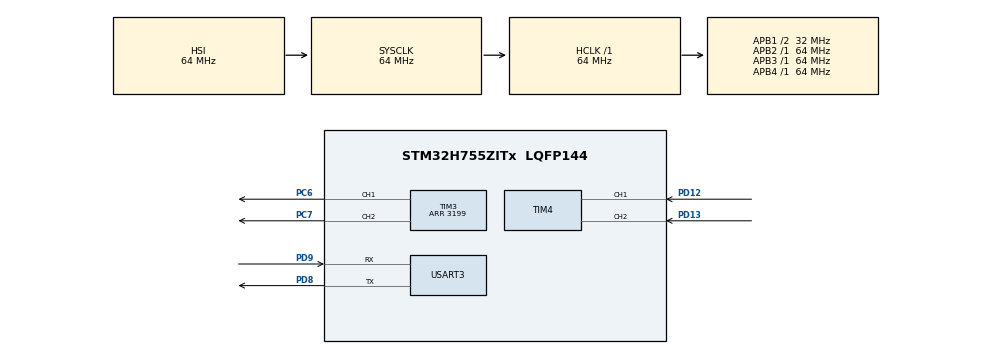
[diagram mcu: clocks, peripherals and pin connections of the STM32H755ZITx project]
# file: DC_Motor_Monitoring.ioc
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CORTEX_M7.default_mode_Activation=1
CortexM4.IPs=CORTEX_M4\:I,FATFS_M4\:I,FREERTOS_M4\:I,IWDG2\:I,OPENAMP_M4\:I,PDM2PCM_M4\:I,PWR,RCC,RESMGR_UTILITY,SYS_M4\:I,USB_DEVICE_M4\:I,USB_HOST_M4\:I,VREFBUF,WWDG2\:I,GPIO,DMA,BDMA,MDMA,NVIC2\:I
CortexM7.IPs=CORTEX_M7\:I,FATFS_M7\:I,FREERTOS_M7\:I,IWDG1\:I,OPENAMP_M7\:I,PDM2PCM_M7\:I,PWR\:I,RCC\:I,RESMGR_UTILITY\:I,SYS\:I,USB_DEVICE_M7\:I,USB_HOST_M7\:I,VREFBUF\:I,WWDG1\:I,GPIO\:I,DMA\:I,BDMA\:I,MDMA\:I,NVIC1\:I,DEBUG\:I,TIM3\:I,TIM4\:I,USART3\:I
Mcu.Family=STM32H7
Mcu.Name=STM32H755ZITx
Mcu.Package=LQFP144
NVIC1.PriorityGroup=NVIC_PRIORITYGROUP_4
NVIC2.PriorityGroup=NVIC_PRIORITYGROUP_4
PA13\ (JTMS/SWDIO).Mode=Serial_Wire
PA13\ (JTMS/SWDIO).PinAttribute=CortexM7
PA13\ (JTMS/SWDIO).Signal=DEBUG_JTMS-SWDIO
PA14\ (JTCK/SWCLK).Mode=Serial_Wire
PA14\ (JTCK/SWCLK).PinAttribute=CortexM7
PA14\ (JTCK/SWCLK).Signal=DEBUG_JTCK-SWCLK
PC6.PinAttribute=CortexM7
PC6.Signal=S_TIM3_CH1
PC7.PinAttribute=CortexM7
PC7.Signal=S_TIM3_CH2
PD12.GPIO_PuPd=GPIO_PULLUP
PD12.PinAttribute=CortexM7
PD12.Signal=S_TIM4_CH1
PD13.GPIO_PuPd=GPIO_PULLUP
PD13.PinAttribute=CortexM7
PD13.Signal=S_TIM4_CH2
PD8.GPIO_PuPd=GPIO_NOPULL
PD8.Mode=Asynchronous
PD8.PinAttribute=CortexM7
PD8.Signal=USART3_TX
PD9.Mode=Asynchronous
PD9.PinAttribute=CortexM7
PD9.Signal=USART3_RX
ProjectManager.HeapSize=M4-0x200,M7-0x200
ProjectManager.StackSize=M4-0x400,M7-0x400
ProjectManager.TargetToolchain=MDK-ARM V5.32
RCC.ADCFreq_Value=129000000
RCC.APB1Freq_Value=32000000
RCC.APB2Freq_Value=64000000
RCC.APB3Freq_Value=64000000
RCC.APB4Freq_Value=64000000
RCC.CortexFreq_Value=64000000
RCC.D2PPRE1=RCC_APB1_DIV2
RCC.HCLKFreq_Value=64000000
RCC.SYSCLKFreq_VALUE=64000000
RCC.USBFreq_Value=129000000
SH.S_TIM3_CH1.0=TIM3_CH1,PWM Generation1 CH1
SH.S_TIM3_CH2.0=TIM3_CH2,PWM Generation2 CH2
SH.S_TIM4_CH1.0=TIM4_CH1,Encoder_Interface
SH.S_TIM4_CH2.0=TIM4_CH2,Encoder_Interface
SYS.userName=SYS_M7
TIM3.AutoReloadPreload=TIM_AUTORELOAD_PRELOAD_ENABLE
TIM3.Channel-PWM\ Generation1\ CH1=TIM_CHANNEL_1
TIM3.Channel-PWM\ Generation2\ CH2=TIM_CHANNEL_2
TIM3.Period=3199
TIM4.EncoderMode=TIM_ENCODERMODE_TI12
TIM4.IC1Filter=6
USART3.VirtualMode-Asynchronous=VM_ASYNC
VP_SYS_M4_VS_Systick.Mode=SysTick
VP_TIM3_VS_ClockSourceINT.Mode=Internal
board=custom

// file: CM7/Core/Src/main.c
/* USER CODE BEGIN Header */
/**
  ******************************************************************************
  * @file           : main.c
  * @brief          : Main program body
  ******************************************************************************
  * @attention
  *
  * Copyright (c) 2026 STMicroelectronics.
  * All rights reserved.
  *
  * This software is licensed under terms that can be found in the LICENSE file
  * in the root directory of this software component.
  * If no LICENSE file comes with this software, it is provided AS-IS.
  *
  ******************************************************************************
  */
/* USER CODE END Header */
#include "main.h"

/* USER CODE BEGIN Includes */
#include "DRV8871.h"
#include "GA25_370.h"
#include <stdio.h>
/* USER CODE END Includes */

/* USER CODE BEGIN PD */

/* DUAL_CORE_BOOT_SYNC_SEQUENCE: Define for dual core boot synchronization    */
/*                             demonstration code based on hardware semaphore */
/* This define is present in both CM7/CM4 projects                            */
/* To comment when developping/debugging on a single core                     */
#define DUAL_CORE_BOOT_SYNC_SEQUENCE

#if defined(DUAL_CORE_BOOT_SYNC_SEQUENCE)
#ifndef HSEM_ID_0
#define HSEM_ID_0 (0U) /* HW semaphore 0*/
#endif
#endif /* DUAL_CORE_BOOT_SYNC_SEQUENCE */
#define MOTOR_OPEN_LOOP_TEST  1
/* USER CODE END PD */

TIM_HandleTypeDef htim3;
TIM_HandleTypeDef htim4;

UART_HandleTypeDef huart3;

/* USER CODE BEGIN PV */
DRV8871_Handle hDRV8871 = {0};
GA25_370_Handle hGA25 = {0};

volatile DRV8871_Status drv_status;
volatile GA25_370_Status encoder_status;

/* Cac bien theo doi trong Keil Watch */
volatile uint8_t test_ready   = 0;
volatile uint8_t test_request = 0;
volatile uint8_t test_running = 0;
volatile uint8_t test_done    = 0;

volatile float duty_percent = 0.0f;
volatile float rpm = 0.0f;
volatile int32_t delta_count = 0;
volatile uint32_t encoder_count = 0;

static uint32_t test_start_tick = 0;

/* Toc do dat: RPM */
volatile float speed_setpoint = 100.0f;

/* He so khoi dau de thu, chua phai thong so da tinh chinh */
volatile float pi_kp = 0.20f;
volatile float pi_ki = 0.50f;

/* Cac bien quan sat */
volatile float speed_error = 0.0f;
volatile float pi_integral = 0.0f;

/*
 * pi_fault:
 * 0: Khong loi
 * 1: RPM nguoc dau mong doi
 * 2: Loi doc encoder
 * 3: Loi goi ham dieu khien driver
 * 4: Toc do dat ngoai pham vi thu
 */
volatile uint8_t pi_fault = 0U;

static uint32_t pi_last_tick = 0U;

volatile HAL_StatusTypeDef uart_status = HAL_OK;
volatile uint32_t uart_tx_count = 0U;

/* USER CODE END PV */

void SystemClock_Config(void);
static void MPU_Config(void);
static void MX_GPIO_Init(void);
static void MX_TIM3_Init(void);
static void MX_TIM4_Init(void);
static void MX_USART3_UART_Init(void);

/* USER CODE BEGIN 0 */
static void Motor_SendTelemetry(void)
{
    static uint32_t last_send_tick = 0U;
    uint32_t tick;
    char buffer[96];
    int length;

    tick = HAL_GetTick();

    /* Gui du lieu khoang moi 100 ms */
    if ((uint32_t)(tick - last_send_tick) < 100U)
    {
        return;
    }

    last_send_tick = tick;

    /*
     * Thu tu:
     * thoi gian ms, toc do dat x10, RPM x10,
     * PWM x10, trang thai chay, ma loi
     */
    length = snprintf(
        buffer,
        sizeof(buffer),
        "%lu,%ld,%ld,%ld,%u,%u\r\n",
        (unsigned long)tick,
        (long)(speed_setpoint * 10.0f),
        (long)(rpm * 10.0f),
        (long)(duty_percent * 10.0f),
        (unsigned int)test_running,
        (unsigned int)pi_fault
    );

    if ((length > 0) && (length < (int)sizeof(buffer)))
    {
        uart_status = HAL_UART_Transmit(
            &huart3,
            (uint8_t *)buffer,
            (uint16_t)length,
            10U
        );

        if (uart_status == HAL_OK)
        {
            uart_tx_count++;
        }
    }
}
/* USER CODE END 0 */

int main(void)
{

/* USER CODE BEGIN Boot_Mode_Sequence_0 */
#if defined(DUAL_CORE_BOOT_SYNC_SEQUENCE)
  int32_t timeout;
#endif /* DUAL_CORE_BOOT_SYNC_SEQUENCE */
/* USER CODE END Boot_Mode_Sequence_0 */

  /* MPU Configuration--------------------------------------------------------*/
  MPU_Config();

/* USER CODE BEGIN Boot_Mode_Sequence_1 */
#if defined(DUAL_CORE_BOOT_SYNC_SEQUENCE)
  /* Wait until CPU2 boots and enters in stop mode or timeout*/
  timeout = 0xFFFF;
  while((__HAL_RCC_GET_FLAG(RCC_FLAG_D2CKRDY) != RESET) && (timeout-- > 0));
  if ( timeout < 0 )
  {
  Error_Handler();
  }
#endif /* DUAL_CORE_BOOT_SYNC_SEQUENCE */
/* USER CODE END Boot_Mode_Sequence_1 */
  /* MCU Configuration--------------------------------------------------------*/

  /* Reset of all peripherals, Initializes the Flash interface and the Systick. */
  HAL_Init();

  /* Configure the system clock */
  SystemClock_Config();
/* USER CODE BEGIN Boot_Mode_Sequence_2 */
#if defined(DUAL_CORE_BOOT_SYNC_SEQUENCE)
/* When system initialization is finished, Cortex-M7 will release Cortex-M4 by means of
HSEM notification */
/*HW semaphore Clock enable*/
__HAL_RCC_HSEM_CLK_ENABLE();
/*Take HSEM */
HAL_HSEM_FastTake(HSEM_ID_0);
/*Release HSEM in order to notify the CPU2(CM4)*/
HAL_HSEM_Release(HSEM_ID_0,0);
/* wait until CPU2 wakes up from stop mode */
timeout = 0xFFFF;
while((__HAL_RCC_GET_FLAG(RCC_FLAG_D2CKRDY) == RESET) && (timeout-- > 0));
if ( timeout < 0 )
{
Error_Handler();
}
#endif /* DUAL_CORE_BOOT_SYNC_SEQUENCE */
/* USER CODE END Boot_Mode_Sequence_2 */

  /* Initialize all configured peripherals */
  MX_GPIO_Init();
  MX_TIM3_Init();
  MX_TIM4_Init();
  MX_USART3_UART_Init();
  /* USER CODE BEGIN 2 */
DRV8871_PWM motor_pwm = {
    &htim3,
    TIM_CHANNEL_1,   /* PC6 -> IN1 */
    TIM_CHANNEL_2    /* PC7 -> IN2 */
};

/* Khoi dong PWM o trang thai motor dung */
drv_status = DRV8871_Init(&hDRV8871, motor_pwm);

if (drv_status != DRV8871_OK)
{
    Error_Handler();
}

/*
 * Gia dinh encoder:
 * 11 chu ky/kenh/vong rotor, doc x4, hop so 21.3:1.
 * So dem/vong truc ra = 11 * 4 * 21.3 = 937.2.
 */
encoder_status = GA25_370_Init(
    &hGA25,
    &htim4,
    937.2f,
    -1
);

if (encoder_status != GA25_370_OK)
{
    (void)DRV8871_Coast(&hDRV8871);
    Error_Handler();
}

test_ready = 1;
  /* USER CODE END 2 */

  /* Infinite loop */
  while (1)
  {

    /* USER CODE BEGIN 3 */
		uint32_t now;
float dt;
float integral_candidate;
float output_candidate;
float output;

/* Doc encoder, ke ca khi motor dang dung */
encoder_status = GA25_370_ReadEncoder(&hGA25);
now = HAL_GetTick();

if (encoder_status == GA25_370_OK)
{
    rpm = hGA25.Data.RPM;
    delta_count = hGA25.Data.DeltaCount;
    encoder_count = __HAL_TIM_GET_COUNTER(&htim4);
}
else if (encoder_status != GA25_370_NO_NEW_SAMPLE)
{
    pi_fault = 2U;
}

/* Nhan yeu cau bat dau mot luot thu */
if (test_request == 1U)
{
    test_request = 0U;

    if ((test_ready == 1U) &&
        (test_running == 0U) &&
        (pi_fault == 0U))
    {
        /* Lan thu nay chi cho phep 0 < toc do dat <= 100 RPM */
        if (!(speed_setpoint > 0.0f &&
              speed_setpoint <= 100.0f))
        {
            pi_fault = 4U;
        }
        else
        {
            pi_integral = 0.0f;
            speed_error = 0.0f;
            duty_percent = 0.0f;

            test_done = 0U;
            test_start_tick = now;
            pi_last_tick = now;
            test_running = 1U;
        }
    }
}
#if MOTOR_OPEN_LOOP_TEST

if (test_running == 1 && pi_fault == 0)
{
    uint32_t elapsed_ms;
    float command_pwm;

    elapsed_ms = (uint32_t)(now - test_start_tick);

    /*
     * 0–2 giay: motor dung, ghi du lieu nen.
     * 2–12 giay: PWM co dinh 30%.
     * Sau 12 giay: dung motor.
     */
    if (elapsed_ms >= 12000U)
    {
        drv_status = DRV8871_Coast(&hDRV8871);

        duty_percent = 0.0f;
        pi_integral = 0.0f;
        test_running = 0;

        if (drv_status == DRV8871_OK)
        {
            test_done = 1;
        }
        else
        {
            pi_fault = 3;
        }
    }
    else
    {
        command_pwm = (elapsed_ms < 2000U) ? 0.0f : 30.0f;

        if (encoder_status == GA25_370_OK && rpm < -10.0f)
        {
            pi_fault = 1;
        }
        else
        {
            duty_percent = command_pwm;

            if (command_pwm == 0.0f)
            {
                drv_status = DRV8871_Coast(&hDRV8871);
            }
            else
            {
                drv_status = DRV8871_SetDuty(
                    &hDRV8871, command_pwm);
            }

            if (drv_status != DRV8871_OK)
            {
                pi_fault = 3;
            }
        }
    }
}

#else
if ((test_running == 1U) && (pi_fault == 0U))
{
    /* Ket thuc luot thu sau 5 giay */
    if ((uint32_t)(now - test_start_tick) >= 10000U)
    {
        drv_status = DRV8871_Coast(&hDRV8871);

        duty_percent = 0.0f;
        pi_integral = 0.0f;
        test_running = 0U;

        if (drv_status == DRV8871_OK)
        {
            test_done = 1U;
        }
        else
        {
            pi_fault = 3U;
        }
    }
    else if (encoder_status == GA25_370_OK)
    {
        /* Chi cap PWM duong: RPM am dang ke la sai quy uoc dau */
        if (rpm < -10.0f)
        {
            pi_fault = 1U;
        }
        else
        {
            dt = (float)((uint32_t)(now - pi_last_tick))
                 * 0.001f;

            if (dt > 0.0f)
            {
                pi_last_tick = now;

                speed_error = speed_setpoint - rpm;

                integral_candidate =
                    pi_integral + pi_ki * speed_error * dt;

                output_candidate =
                    pi_kp * speed_error + integral_candidate;

                /*
                 * Anti-windup:
                 * Cho tich phan cap nhat khi dau ra trong gioi han,
                 * hoac khi sai so giup dua dau ra ve khoi bao hoa.
                 */
                if (((output_candidate >= 0.0f) &&
                     (output_candidate <= 50.0f)) ||
                    ((output_candidate > 50.0f) &&
                     (speed_error < 0.0f)) ||
                    ((output_candidate < 0.0f) &&
                     (speed_error > 0.0f)))
                {
                    pi_integral = integral_candidate;
                }

                output = pi_kp * speed_error + pi_integral;

                /* Gioi han PWM cho lan thu dau */
                if (output > 50.0f)
                {
                    output = 50.0f;
                }
                else if (output < 0.0f)
                {
                    output = 0.0f;
                }

                duty_percent = output;

                drv_status = DRV8871_SetDuty(
                    &hDRV8871, output
                );

                if (drv_status != DRV8871_OK)
                {
                    pi_fault = 3U;
                }
            }
        }
    }
}
#endif

/* Dung va khoa luot thu neu phat hien loi */
if (pi_fault != 0U)
{
    (void)DRV8871_Coast(&hDRV8871);

    duty_percent = 0.0f;
    pi_integral = 0.0f;
    test_running = 0U;
    test_ready = 0U;
    test_done = 0U;
}
Motor_SendTelemetry();
HAL_Delay(20);
  }
  /* USER CODE END 3 */
}

void SystemClock_Config(void)
{
  RCC_OscInitTypeDef RCC_OscInitStruct = {0};
  RCC_ClkInitTypeDef RCC_ClkInitStruct = {0};

  /** Supply configuration update enable
  */
  HAL_PWREx_ConfigSupply(PWR_DIRECT_SMPS_SUPPLY);

  /** Configure the main internal regulator output voltage
  */
  __HAL_PWR_VOLTAGESCALING_CONFIG(PWR_REGULATOR_VOLTAGE_SCALE3);

  while(!__HAL_PWR_GET_FLAG(PWR_FLAG_VOSRDY)) {}

  /** Initializes the RCC Oscillators according to the specified parameters
  * in the RCC_OscInitTypeDef structure.
  */
  RCC_OscInitStruct.OscillatorType = RCC_OSCILLATORTYPE_HSI;
  RCC_OscInitStruct.HSIState = RCC_HSI_DIV1;
  RCC_OscInitStruct.HSICalibrationValue = RCC_HSICALIBRATION_DEFAULT;
  RCC_OscInitStruct.PLL.PLLState = RCC_PLL_NONE;
  if (HAL_RCC_OscConfig(&RCC_OscInitStruct) != HAL_OK)
  {
    Error_Handler();
  }

  /** Initializes the CPU, AHB and APB buses clocks
  */
  RCC_ClkInitStruct.ClockType = RCC_CLOCKTYPE_HCLK|RCC_CLOCKTYPE_SYSCLK
                              |RCC_CLOCKTYPE_PCLK1|RCC_CLOCKTYPE_PCLK2
                              |RCC_CLOCKTYPE_D3PCLK1|RCC_CLOCKTYPE_D1PCLK1;
  RCC_ClkInitStruct.SYSCLKSource = RCC_SYSCLKSOURCE_HSI;
  RCC_ClkInitStruct.SYSCLKDivider = RCC_SYSCLK_DIV1;
  RCC_ClkInitStruct.AHBCLKDivider = RCC_HCLK_DIV1;
  RCC_ClkInitStruct.APB3CLKDivider = RCC_APB3_DIV1;
  RCC_ClkInitStruct.APB1CLKDivider = RCC_APB1_DIV2;
  RCC_ClkInitStruct.APB2CLKDivider = RCC_APB2_DIV1;
  RCC_ClkInitStruct.APB4CLKDivider = RCC_APB4_DIV1;

  if (HAL_RCC_ClockConfig(&RCC_ClkInitStruct, FLASH_LATENCY_1) != HAL_OK)
  {
    Error_Handler();
  }
}

static void MX_TIM3_Init(void)
{

  TIM_ClockConfigTypeDef sClockSourceConfig = {0};
  TIM_MasterConfigTypeDef sMasterConfig = {0};
  TIM_OC_InitTypeDef sConfigOC = {0};

  htim3.Instance = TIM3;
  htim3.Init.Prescaler = 0;
  htim3.Init.CounterMode = TIM_COUNTERMODE_UP;
  htim3.Init.Period = 3199;
  htim3.Init.ClockDivision = TIM_CLOCKDIVISION_DIV1;
  htim3.Init.AutoReloadPreload = TIM_AUTORELOAD_PRELOAD_ENABLE;
  if (HAL_TIM_Base_Init(&htim3) != HAL_OK)
  {
    Error_Handler();
  }
  sClockSourceConfig.ClockSource = TIM_CLOCKSOURCE_INTERNAL;
  if (HAL_TIM_ConfigClockSource(&htim3, &sClockSourceConfig) != HAL_OK)
  {
    Error_Handler();
  }
  if (HAL_TIM_PWM_Init(&htim3) != HAL_OK)
  {
    Error_Handler();
  }
  sMasterConfig.MasterOutputTrigger = TIM_TRGO_RESET;
  sMasterConfig.MasterSlaveMode = TIM_MASTERSLAVEMODE_DISABLE;
  if (HAL_TIMEx_MasterConfigSynchronization(&htim3, &sMasterConfig) != HAL_OK)
  {
    Error_Handler();
  }
  sConfigOC.OCMode = TIM_OCMODE_PWM1;
  sConfigOC.Pulse = 0;
  sConfigOC.OCPolarity = TIM_OCPOLARITY_HIGH;
  sConfigOC.OCFastMode = TIM_OCFAST_DISABLE;
  if (HAL_TIM_PWM_ConfigChannel(&htim3, &sConfigOC, TIM_CHANNEL_1) != HAL_OK)
  {
    Error_Handler();
  }
  if (HAL_TIM_PWM_ConfigChannel(&htim3, &sConfigOC, TIM_CHANNEL_2) != HAL_OK)
  {
    Error_Handler();
  }
  HAL_TIM_MspPostInit(&htim3);

}

static void MX_TIM4_Init(void)
{

  TIM_Encoder_InitTypeDef sConfig = {0};
  TIM_MasterConfigTypeDef sMasterConfig = {0};

  htim4.Instance = TIM4;
  htim4.Init.Prescaler = 0;
  htim4.Init.CounterMode = TIM_COUNTERMODE_UP;
  htim4.Init.Period = 65535;
  htim4.Init.ClockDivision = TIM_CLOCKDIVISION_DIV1;
  htim4.Init.AutoReloadPreload = TIM_AUTORELOAD_PRELOAD_DISABLE;
  sConfig.EncoderMode = TIM_ENCODERMODE_TI12;
  sConfig.IC1Polarity = TIM_ICPOLARITY_RISING;
  sConfig.IC1Selection = TIM_ICSELECTION_DIRECTTI;
  sConfig.IC1Prescaler = TIM_ICPSC_DIV1;
  sConfig.IC1Filter = 6;
  sConfig.IC2Polarity = TIM_ICPOLARITY_RISING;
  sConfig.IC2Selection = TIM_ICSELECTION_DIRECTTI;
  sConfig.IC2Prescaler = TIM_ICPSC_DIV1;
  sConfig.IC2Filter = 0;
  if (HAL_TIM_Encoder_Init(&htim4, &sConfig) != HAL_OK)
  {
    Error_Handler();
  }
  sMasterConfig.MasterOutputTrigger = TIM_TRGO_RESET;
  sMasterConfig.MasterSlaveMode = TIM_MASTERSLAVEMODE_DISABLE;
  if (HAL_TIMEx_MasterConfigSynchronization(&htim4, &sMasterConfig) != HAL_OK)
  {
    Error_Handler();
  }

}

static void MX_USART3_UART_Init(void)
{

  huart3.Instance = USART3;
  huart3.Init.BaudRate = 115200;
  huart3.Init.WordLength = UART_WORDLENGTH_8B;
  huart3.Init.StopBits = UART_STOPBITS_1;
  huart3.Init.Parity = UART_PARITY_NONE;
  huart3.Init.Mode = UART_MODE_TX_RX;
  huart3.Init.HwFlowCtl = UART_HWCONTROL_NONE;
  huart3.Init.OverSampling = UART_OVERSAMPLING_16;
  huart3.Init.OneBitSampling = UART_ONE_BIT_SAMPLE_DISABLE;
  huart3.Init.ClockPrescaler = UART_PRESCALER_DIV1;
  huart3.AdvancedInit.AdvFeatureInit = UART_ADVFEATURE_NO_INIT;
  if (HAL_UART_Init(&huart3) != HAL_OK)
  {
    Error_Handler();
  }
  if (HAL_UARTEx_SetTxFifoThreshold(&huart3, UART_TXFIFO_THRESHOLD_1_8) != HAL_OK)
  {
    Error_Handler();
  }
  if (HAL_UARTEx_SetRxFifoThreshold(&huart3, UART_RXFIFO_THRESHOLD_1_8) != HAL_OK)
  {
    Error_Handler();
  }
  if (HAL_UARTEx_DisableFifoMode(&huart3) != HAL_OK)
  {
    Error_Handler();
  }

}

static void MX_GPIO_Init(void)
{

  /* GPIO Ports Clock Enable */
  __HAL_RCC_GPIOD_CLK_ENABLE();
  __HAL_RCC_GPIOC_CLK_ENABLE();
  __HAL_RCC_GPIOA_CLK_ENABLE();

}

 /* MPU Configuration */

void MPU_Config(void)
{
  MPU_Region_InitTypeDef MPU_InitStruct = {0};

  /* Disables the MPU */
  HAL_MPU_Disable();

  /** Initializes and configures the Region and the memory to be protected
  */
  MPU_InitStruct.Enable = MPU_REGION_ENABLE;
  MPU_InitStruct.Number = MPU_REGION_NUMBER0;
  MPU_InitStruct.BaseAddress = 0x0;
  MPU_InitStruct.Size = MPU_REGION_SIZE_4GB;
  MPU_InitStruct.SubRegionDisable = 0x87;
  MPU_InitStruct.TypeExtField = MPU_TEX_LEVEL0;
  MPU_InitStruct.AccessPermission = MPU_REGION_NO_ACCESS;
  MPU_InitStruct.DisableExec = MPU_INSTRUCTION_ACCESS_DISABLE;
  MPU_InitStruct.IsShareable = MPU_ACCESS_SHAREABLE;
  MPU_InitStruct.IsCacheable = MPU_ACCESS_NOT_CACHEABLE;
  MPU_InitStruct.IsBufferable = MPU_ACCESS_NOT_BUFFERABLE;

  HAL_MPU_ConfigRegion(&MPU_InitStruct);
  /* Enables the MPU */
  HAL_MPU_Enable(MPU_PRIVILEGED_DEFAULT);

}

void Error_Handler(void)
{
  __disable_irq();
  while (1)
  {
  }
}
